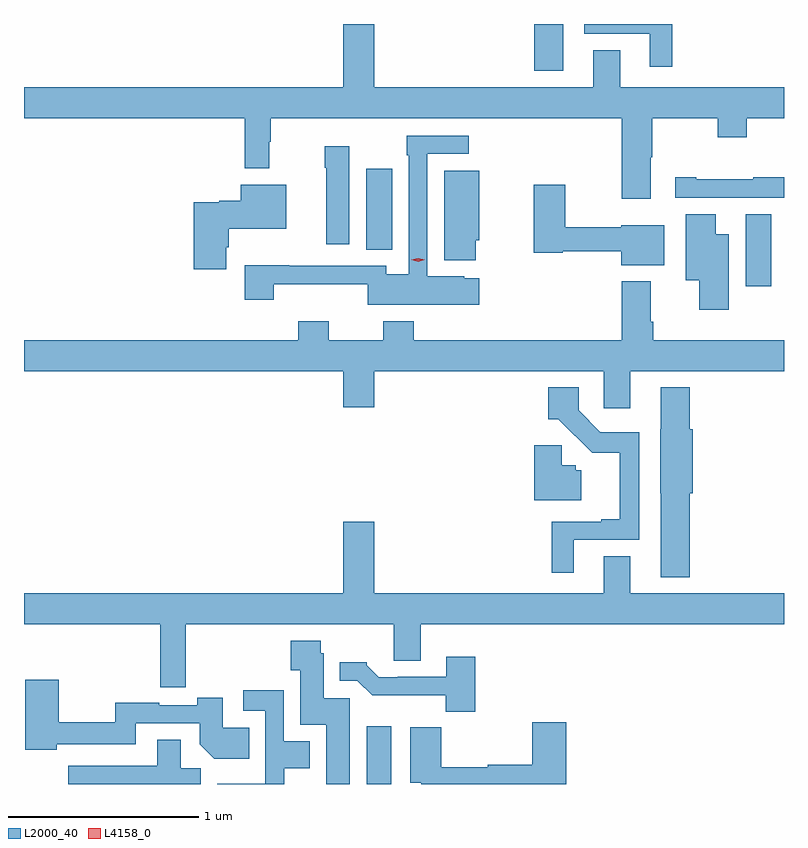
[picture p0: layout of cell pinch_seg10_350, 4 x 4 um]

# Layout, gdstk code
import gdstk
lib = gdstk.Library(unit=1e-6, precision=1e-09)
def R(c, l, rs):  # rectangles x0, y0, x1, y1
    for r in rs: c.add(gdstk.rectangle(r[:2], r[2:], *l))
def P(c, l, *ps):  # polygons
    for p in ps: c.add(gdstk.Polygon(p, *l))
L2000_40 = (2000, 40)
L4158_0 = (4158, 0)

pinch_seg10_350 = lib.new_cell('pinch_seg10_350')
R(pinch_seg10_350, L2000_40, [(476.819,1259.516,476.95,1259.821), (478.814,1262.136,478.948,1262.516), (476.816,1262.329,476.953,1262.755), (477.701,1263.269,477.853,1263.516)])
P(pinch_seg10_350, L2000_40, [(478.427,1263.516),(477.965,1263.516),(477.965,1263.465),(478.31,1263.465),(478.31,1263.291),(478.427,1263.291)],
  [(478.315,1262.816),(478.323,1262.816),(478.323,1263.02),(478.666,1263.02),(478.666,1262.921),(478.821,1262.921),(478.821,1263.02),(479.016,1263.02),(479.016,1263.184),(478.153,1263.184),(478.153,1263.379),(478.013,1263.379),(478.013,1263.184),(476.86,1263.184),(476.86,1263.516),(476.696,1263.516),(476.696,1263.184),(475.016,1263.184),(475.016,1263.02),(476.179,1263.02),(476.179,1262.757),(476.308,1262.757),(476.308,1262.897),(476.315,1262.897),(476.315,1263.02),(478.163,1263.02),(478.163,1262.595),(478.315,1262.595)],
  [(477.412,1262.179),(477.333,1262.179),(477.333,1262.188),(477.138,1262.188),(477.138,1262.832),(477.358,1262.832),(477.358,1262.928),(477.03,1262.928),(477.03,1262.825),(477.042,1262.825),(477.042,1262.2),(476.922,1262.2),(476.922,1262.244),(476.413,1262.244),(476.413,1262.246),(476.177,1262.246),(476.177,1262.064),(476.33,1262.064),(476.33,1262.147),(476.826,1262.147),(476.826,1262.039),(477.412,1262.039)],
  [(476.728,1262.872),(476.599,1262.872),(476.599,1262.759),(476.606,1262.759),(476.606,1262.358),(476.728,1262.358)],
  [(477.394,1262.379),(477.412,1262.379),(477.412,1262.743),(477.227,1262.743),(477.227,1262.273),(477.394,1262.273)],
  [(479.016,1262.71),(478.855,1262.71),(478.855,1262.7),(478.555,1262.7),(478.555,1262.71),(478.443,1262.71),(478.443,1262.601),(479.016,1262.601)],
  [(478.387,1262.458),(478.16,1262.458),(478.16,1262.447),(477.864,1262.447),(477.864,1262.671),(477.698,1262.671),(477.698,1262.311),(477.852,1262.311),(477.852,1262.319),(478.16,1262.319),(478.16,1262.246),(478.387,1262.246)],
  [(476.08,1262.341),(476.093,1262.341),(476.093,1262.438),(476.395,1262.438),(476.395,1262.671),(476.156,1262.671),(476.156,1262.586),(476.043,1262.586),(476.043,1262.578),(475.91,1262.578),(475.91,1262.226),(476.08,1262.226)],
  [(478.726,1262.41),(478.657,1262.41),(478.657,1262.516),(478.499,1262.516),(478.499,1262.168),(478.571,1262.168),(478.571,1262.013),(478.726,1262.013)],
  [(478.207,1261.688),(479.016,1261.688),(479.016,1261.852),(478.328,1261.852),(478.328,1261.948),(478.315,1261.948),(478.315,1262.161),(478.163,1262.161),(478.163,1261.852),(477.068,1261.852),(477.068,1261.951),(476.908,1261.951),(476.908,1261.852),(476.619,1261.852),(476.619,1261.951),(476.459,1261.951),(476.459,1261.852),(475.016,1261.852),(475.016,1261.688),(476.696,1261.688),(476.696,1261.5),(476.86,1261.5),(476.86,1261.688),(478.068,1261.688),(478.068,1261.494),(478.207,1261.494)],
  [(478.52,1261.047),(478.535,1261.047),(478.535,1261.383),(478.52,1261.383),(478.52,1261.603),(478.367,1261.603),(478.367,1261.383),(478.364,1261.383),(478.364,1261.047),(478.367,1261.047),(478.367,1260.605),(478.52,1260.605)],
  [(477.91,1260.801),(478.255,1260.801),(478.255,1261.368),(478.05,1261.368),(477.936,1261.482),(477.936,1261.603),(477.776,1261.603),(477.776,1261.436),(477.829,1261.436),(478.007,1261.259),(478.151,1261.259),(478.151,1260.91),(478.055,1260.91),(478.055,1260.897),(477.793,1260.897),(477.793,1260.627),(477.91,1260.627)],
  [(477.949,1261.167),(477.921,1261.167),(477.921,1261.194),(477.845,1261.194),(477.845,1261.299),(477.701,1261.299),(477.701,1261.01),(477.949,1261.01)],
  [(475.868,1260.356),(476.963,1260.356),(476.963,1260.166),(477.103,1260.166),(477.103,1260.356),(479.016,1260.356),(479.016,1260.52),(478.207,1260.52),(478.207,1260.715),(478.067,1260.715),(478.067,1260.52),(476.86,1260.52),(476.86,1260.895),(476.696,1260.895),(476.696,1260.52),(475.016,1260.52),(475.016,1260.356),(475.732,1260.356),(475.732,1260.024),(475.868,1260.024)],
  [(476.731,1259.967),(476.593,1259.967),(476.593,1260.204),(476.577,1260.204),(476.577,1260.271),(476.42,1260.271),(476.42,1260.115),(476.471,1260.115),(476.471,1259.828),(476.606,1259.828),(476.606,1259.516),(476.731,1259.516)],
  [(477.392,1260.187),(477.239,1260.187),(477.239,1260.081),(476.983,1260.081),(476.983,1260.078),(476.884,1260.078),(476.82,1260.142),(476.82,1260.157),(476.678,1260.157),(476.678,1260.06),(476.769,1260.06),(476.848,1259.982),(477.237,1259.982),(477.237,1259.897),(477.392,1259.897)],
  [(476.201,1259.812),(476.062,1259.812),(476.062,1259.969),(475.928,1259.969),(475.928,1259.931),(475.728,1259.931),(475.728,1259.943),(475.497,1259.943),(475.497,1259.84),(475.2,1259.84),(475.2,1260.064),(475.022,1260.064),(475.022,1259.696),(475.188,1259.696),(475.188,1259.724),(475.605,1259.724),(475.605,1259.835),(475.94,1259.835),(475.94,1259.726),(476.018,1259.648),(476.201,1259.648)],
  [(476.385,1259.6),(476.521,1259.6),(476.521,1259.74),(476.382,1259.74),(476.382,1260.01),(476.169,1260.01),(476.169,1259.901),(476.286,1259.901),(476.286,1259.518),(476.033,1259.518),(476.033,1259.516),(476.385,1259.516)],
  [(477.869,1259.842),(477.691,1259.842),(477.691,1259.618),(477.456,1259.618),(477.456,1259.603),(477.212,1259.603),(477.212,1259.815),(477.05,1259.815),(477.05,1259.522),(477.108,1259.522),(477.108,1259.516),(477.869,1259.516)],
  [(475.945,1259.6),(475.84,1259.6),(475.84,1259.749),(475.718,1259.749),(475.718,1259.611),(475.248,1259.611),(475.248,1259.516),(475.945,1259.516)])
P(pinch_seg10_350, L4158_0, [(477.09,1262.264),(477.055,1262.274),(477.055,1262.274),(477.055,1262.275),(477.09,1262.284),(477.124,1262.275),(477.125,1262.274),(477.124,1262.274)])

lib.write_gds('pinch_seg10_350.gds')
